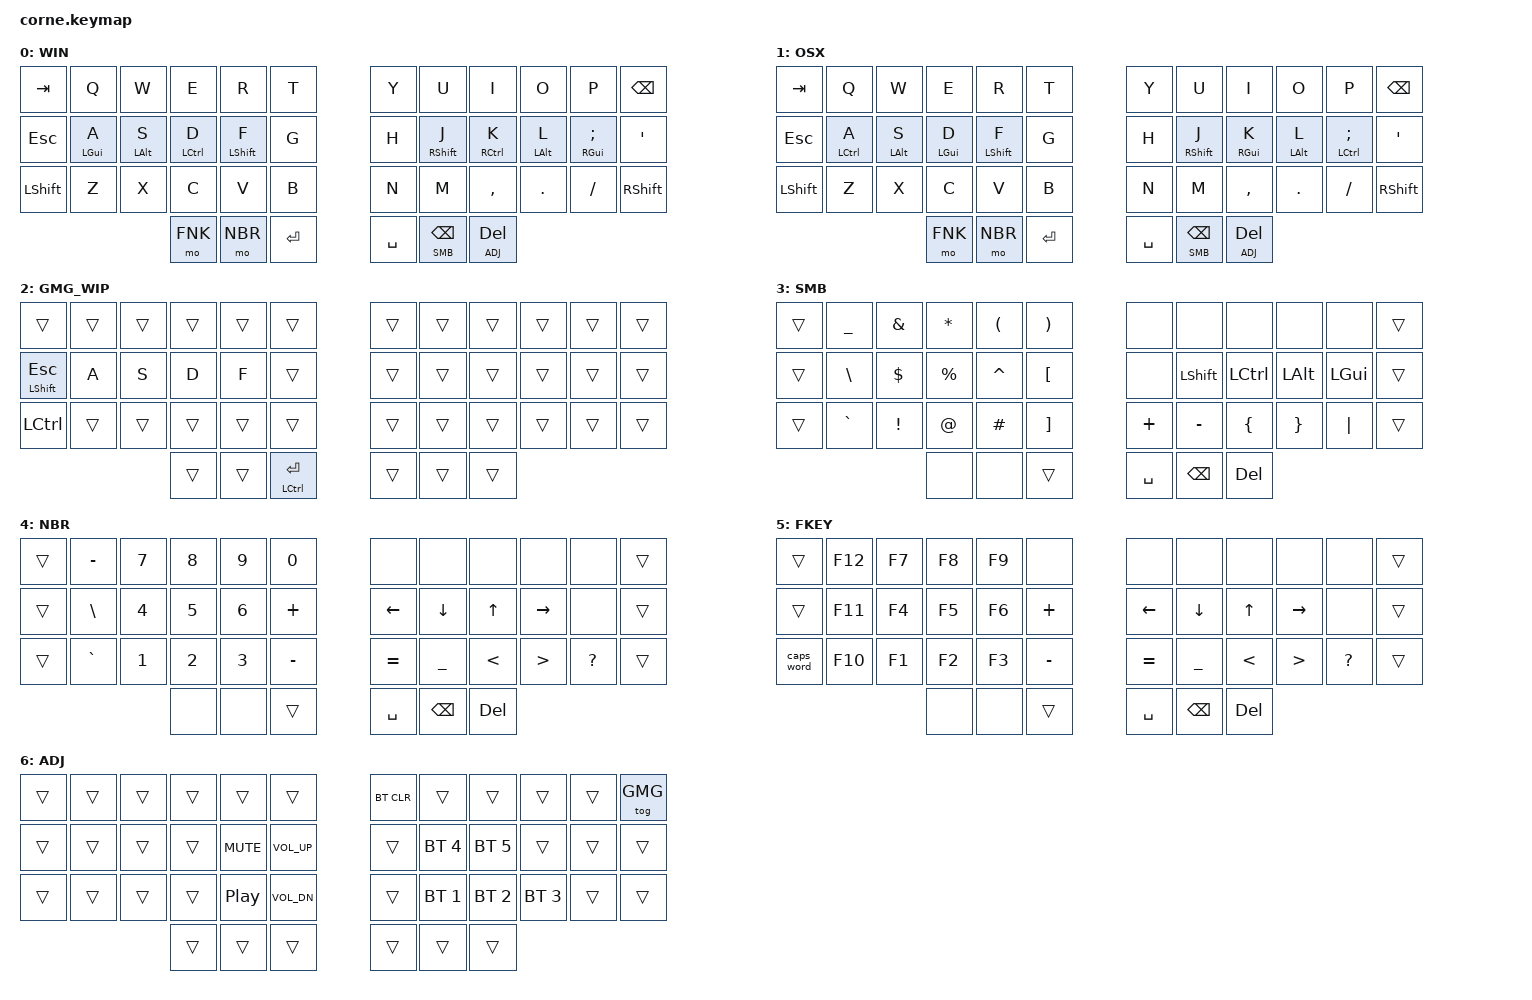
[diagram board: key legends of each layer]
/*
 * Copyright (c) 2020 The ZMK Contributors
 *
 * SPDX-License-Identifier: MIT
 */

#include <behaviors.dtsi>
#include <dt-bindings/zmk/keys.h>
#include <dt-bindings/zmk/bt.h>

#define WIN 0
#define OSX 1
#define GMG 2
#define SMB 3
#define NBR 4
#define FNK 5
#define ADJ 6


// layout to implement later?
// ┏━━━━━━━┯━━━━━━━┯━━━━━━━┯━━━━━━━┯━━━━━━━┯━━━━━━━┓ ┏━━━━━━━┯━━━━━━━┯━━━━━━━┯━━━━━━━┯━━━━━━━┯━━━━━━━┓
// ┃       │       │       │       │       │       ┃ ┃       │       │       │       │       │       ┃
// ┠───────┼───────┼───────┼───────┼───────┼───────┨ ┠───────┼───────┼───────┼───────┼───────┼───────┨
// ┃       │       │       │       │       │       ┃ ┃       │       │       │       │       │       ┃
// ┠───────┼───────┼───────┼───────┼───────┼───────┨ ┠───────┼───────┼───────┼───────┼───────┼───────┨
// ┃       │       │       │       │       │       ┃ ┃       │       │       │       │       │       ┃
// ┗━━━━━━━┷━━━━━━━┷━━━━━━━╅───────┼───────┼───────┨ ┠───────┼───────┼───────╆━━━━━━━┷━━━━━━━┷━━━━━━━┛
//                         ┃       │       │       ┃ ┃       │       │       ┃
//                         ┗━━━━━━━┷━━━━━━━┷━━━━━━━┛ ┗━━━━━━━┷━━━━━━━┷━━━━━━━┛
//  &trans  &trans  &trans  &trans  &trans  &trans    &trans  &trans  &trans  &trans  &trans  &trans
//  &trans  &trans  &trans  &trans  &trans  &trans    &trans  &trans  &trans  &trans  &trans  &trans
//  &trans  &trans  &trans  &trans  &trans  &trans    &trans  &trans  &trans  &trans  &trans  &trans
//                          &trans  &trans  &trans    &trans  &trans  &trans

/ {
	behaviors {
		hm: homerow_mods {
			compatible = "zmk,behavior-hold-tap";
			label = "HOMEROW_MODS";
			#binding-cells = <2>;
			tapping-term-ms = <180>;
			quick-tap-ms = <0>;
			flavor = "tap-preferred";
			bindings = <&kp>, <&kp>;
		};
	};

	keymap {
		compatible = "zmk,keymap";

		default_layer {
			label = "WIN";
                        bindings = <
&kp TAB   &kp Q      &kp W      &kp E       &kp R       &kp T      &kp Y     &kp U        &kp I       &kp O       &kp P         &kp BSPC
&kp ESC   &hm LGUI A &hm LALT S &hm LCTRL D &hm LSHFT F &kp G      &kp H     &hm RSHFT J  &hm RCTRL K &hm LALT L  &hm RGUI SEMI &kp SQT
&kp LSHFT &kp Z      &kp X      &kp C       &kp V       &kp B      &kp N     &kp M        &kp COMMA   &kp DOT     &kp FSLH      &kp RSHFT
                                &mo FNK     &mo NBR     &kp RET    &kp SPACE &lt SMB BSPC &lt ADJ DEL
                        >;
                };

		osx_layer {
			label = "OSX";
			bindings = <
&kp TAB   &kp Q       &kp W      &kp E       &kp R       &kp T      &kp Y     &kp U        &kp I       &kp O       &kp P          &kp BSPC
&kp ESC   &hm LCTRL A &hm LALT S &hm LGUI D  &hm LSHFT F &kp G      &kp H     &hm RSHFT J  &hm RGUI K  &hm LALT L  &hm LCTRL SEMI &kp SQT
&kp LSHFT &kp Z       &kp X      &kp C       &kp V       &kp B      &kp N     &kp M        &kp COMMA   &kp DOT     &kp FSLH       &kp RSHFT
                                 &mo FNK     &mo NBR     &kp RET    &kp SPACE &lt SMB BSPC &lt ADJ DEL
			>;
		};

		gaming_layer {
			label = "GMG_WIP";
			bindings = <
&trans        &trans &trans &trans &trans &trans          &trans &trans &trans &trans &trans &trans
&hm LSHFT ESC &kp A  &kp S  &kp D  &kp F  &trans          &trans &trans &trans &trans &trans &trans
&kp LCTRL     &trans &trans &trans &trans &trans          &trans &trans &trans &trans &trans &trans
                            &trans &trans &hm LCTRL RET   &trans &trans &trans
			>;
		};

		symbol_layer {
			label = "SMB";
			bindings = <
&trans &kp UNDER &kp AMPS   &kp ASTRK   &kp LPAR  &kp RPAR   &none     &none     &none     &none    &none    &trans
&trans &kp BSLH  &kp DOLLAR &kp PERCENT &kp CARET &kp LBKT   &none     &kp LSHFT &kp LCTRL &kp LALT &kp LGUI &trans
&trans &kp GRAVE &kp EXCL   &kp AT_SIGN &kp HASH  &kp RBKT   &kp PLUS  &kp MINUS &kp LBRC  &kp RBRC &kp PIPE &trans
                            &none       &none     &trans     &kp SPACE &kp BSPC  &kp DEL
			>;
		};

		number_layer {
			label = "NBR";
			bindings = <
&trans &kp MINUS &kp N7 &kp N8 &kp N9 &kp N0       &none     &none     &none  &none     &none     &trans
&trans &kp BSLH  &kp N4 &kp N5 &kp N6 &kp PLUS     &kp LEFT  &kp DOWN  &kp UP &kp RIGHT &none     &trans
&trans &kp GRAVE &kp N1 &kp N2 &kp N3 &kp MINUS    &kp EQUAL &kp UNDER &kp LT &kp GT    &kp QMARK &trans
                        &none  &none  &trans       &kp SPACE &kp BSPC  &kp DEL
			>;
		};

		fnkeys_layer {
			label = "FKEY";
			bindings = <
&trans     &kp F12 &kp F7 &kp F8 &kp F9 &none       &none     &none     &none  &none     &none     &trans
&trans     &kp F11 &kp F4 &kp F5 &kp F6 &kp PLUS    &kp LEFT  &kp DOWN  &kp UP &kp RIGHT &none     &trans
&caps_word &kp F10 &kp F1 &kp F2 &kp F3 &kp MINUS   &kp EQUAL &kp UNDER &kp LT &kp GT    &kp QMARK &trans
                          &none  &none  &trans      &kp SPACE &kp BSPC  &kp DEL
			>;
		};

		adjust_layer {
			label = "ADJ";
			bindings = <
&trans &trans &trans &trans &trans     &trans         &bt BT_CLR &trans       &trans       &trans       &trans &tog GMG
&trans &trans &trans &trans &kp C_MUTE &kp C_VOL_UP   &trans     &bt BT_SEL 4 &bt BT_SEL 5 &trans       &trans &trans
&trans &trans &trans &trans &kp C_PP   &kp C_VOL_DN   &trans     &bt BT_SEL 1 &bt BT_SEL 2 &bt BT_SEL 3 &trans &trans
                     &trans &trans     &trans         &trans     &trans       &trans
			>;
		};
        };
};
